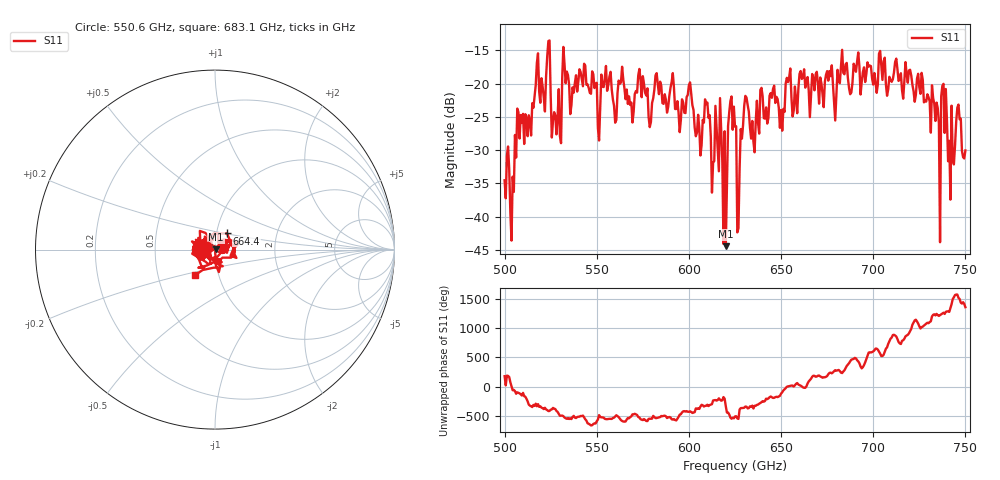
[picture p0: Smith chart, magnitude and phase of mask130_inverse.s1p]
!Created with skrf (http://scikit-rf.org).
# GHz S MA R 50.0
!freq magS11 angS11
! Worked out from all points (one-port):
!   401 points, 500 GHz to 750 GHz, reference 50 ohm
!   lowest |S11| = -44.5 dB at 620 GHz (marker M1), VSWR 1.01, Z = 50.6 + j0.239 ohm
!   |S11| at or under -10 dB: start of sweep to end of sweep
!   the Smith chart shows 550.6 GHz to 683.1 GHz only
!   S11 on the Smith chart (normalised r, x): 550.6 GHz: 0.92, +0.04; 664.4 GHz: 1.12, +0.20; 683.1 GHz: 0.77, -0.23
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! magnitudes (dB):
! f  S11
! 500 GHz  -34.5
! 503.8 GHz  -43.6
! 506.9 GHz  -23.8
! 517.5 GHz  -16.9
! 523.8 GHz  -13.6
! 526.9 GHz  -24.3
! 531.2 GHz  -19.2
! 550.6 GHz  -26.7
! 562.5 GHz  -20.0
! 593.8 GHz  -22.6
! 610 GHz  -22.9
! 620 GHz  -44.5
! 622.5 GHz  -22.6
! 625 GHz  -26.5
! 627.5 GHz  -32.8
! 631.2 GHz  -22.1
! 634.4 GHz  -25.6
! 656.2 GHz  -24.9
! 664.4 GHz  -19.0
! 683.1 GHz  -14.9
! 687.5 GHz  -21.6
! 718.8 GHz  -19.9
! 733.1 GHz  -23.0
! 735 GHz  -23.7
! 738.1 GHz  -20.0
! 741.9 GHz  -37.5
! 746.2 GHz  -23.2
! 750 GHz  -30.1
